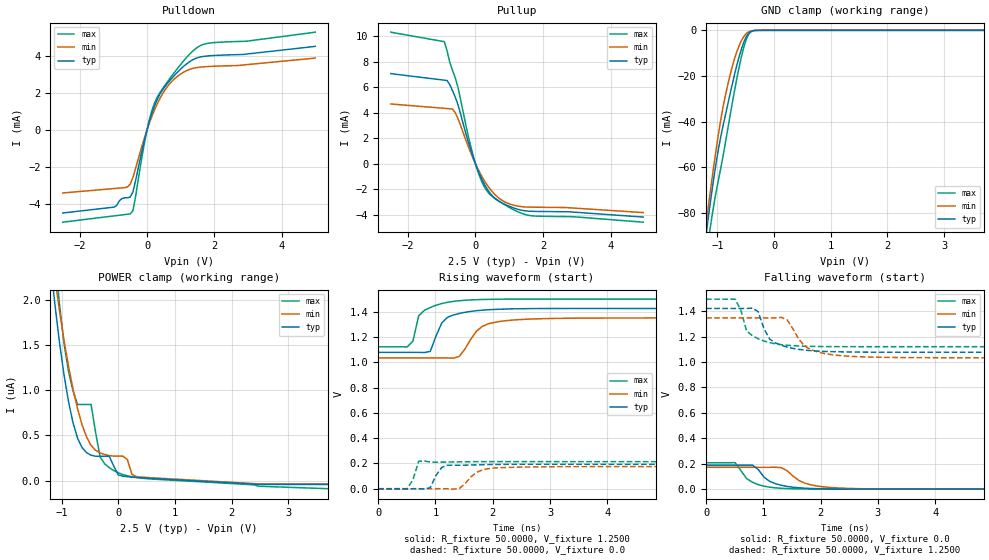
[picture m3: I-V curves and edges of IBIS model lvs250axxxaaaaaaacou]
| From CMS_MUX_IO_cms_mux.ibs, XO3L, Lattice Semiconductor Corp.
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[Model]   lvs250axxxaaaaaaacou
Model_type   Output
Polarity   Non-Inverting
Enable   Active-Low
Vmeas =   1.2500V
Cref =   3.0000pF
Rref =   50.0000
Vref =   1.2500V
C_comp   4.2000pF   3.8000pF   7.5000pF
[Temperature Range]   25.0000   0.1250k   -40.0000
[Voltage Range]   2.5000V   2.3800V   2.6300V
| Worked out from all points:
|   slope of the pulldown table from 0 to 0.375 V, typ, clamps not added: 196 ohm
|   slope of the pullup table from 0 to 0.375 V, typ, clamps not added: 178 ohm
|   GND clamp passes 1 mA (typ) near -0.43 V on its own axis
|   rising waveform, R_fixture 50.0000, V_fixture 1.2500: 20-80 % time 250ps typ, 331ps min, 240ps max; typ from 1.08 V to 1.42 V
|   rising waveform, R_fixture 50.0000, V_fixture 0.0: 20-80 % time 142ps typ, 257ps min, 107ps max; typ from 0 V to 0.189 V
|   falling waveform, R_fixture 50.0000, V_fixture 0.0: 20-80 % time 337ps typ, 394ps min, 304ps max; typ from 0.189 V to 0 V
|   falling waveform, R_fixture 50.0000, V_fixture 1.2500: 20-80 % time 293ps typ, 357ps min, 263ps max; typ from 1.42 V to 1.08 V
[Pulldown]
|Voltage   I(typ)   I(min)   I(max)
-2.5V     -4.512mA   -3.425mA   -5.012mA
-980mV    -4.194mA   -3.187mA   -4.669mA
-740mV    -3.725mA   -3.149mA   -4.615mA
-580mV    -3.684mA   -3.097mA   -4.579mA
-420mV    -3.371mA   -2.597mA   -4.4mA
-20mV     -141.1uA   -110.8uA   -176.9uA
220mV     1.286mA    1.074mA    1.445mA
460mV     2.167mA    1.953mA    2.23mA
780mV     2.888mA    2.708mA    3.037mA
1.5V      3.914mA    3.386mA    4.482mA
1.9V      4.025mA    3.445mA    4.718mA
5V        4.534mA    3.898mA    5.306mA
[Pullup]
|Voltage   I(typ)   I(min)   I(max)
-2.5V     7.076mA    4.69mA     10.34mA
-920mV    6.558mA    4.346mA    9.584mA
-760mV    6.227mA    4.311mA    7.991mA
-600mV    5.26mA     4.027mA    6.776mA
-520mV    4.668mA    3.581mA    6.055mA
-200mV    1.619mA    1.266mA    2.057mA
40mV      -284.3uA   -227.6uA   -345.1uA
280mV     -1.693mA   -1.407mA   -1.9mA
520mV     -2.586mA   -2.273mA   -2.629mA
1V        -3.353mA   -3.163mA   -3.442mA
1.64V     -3.746mA   -3.422mA   -4.094mA
4.96V     -4.201mA   -3.848mA   -4.604mA
[GND_clamp]
|Voltage   I(typ)   I(min)   I(max)
-2.5V     -566.3mA   -544.9mA   -586.5mA
-1.22V    -93.54mA   -88.99mA   -103.7mA
-1.18V    -85.75mA   -81.09mA   -96.02mA
-1.14V    -78.19mA   -73.36mA   -88.78mA
-1.1V     -70.93mA   -65.85mA   -82.04mA
-980mV    -51.7mA    -45.08mA   -65.26mA
-820mV    -32.67mA   -24.09mA   -43.56mA
-620mV    -11.8mA    -6.902mA   -16.44mA
-540mV    -5.525mA   -2.91mA    -7.855mA
-460mV    -1.591mA   -787.8uA   -2.175mA
-300mV    -20.61uA   -17.6uA    -17.71uA
5V        0A         0A         0A
[POWER_clamp]
|Voltage   I(typ)   I(min)   I(max)
-2.48V    16.67uA    13.46uA    27.27uA
-1.2V     2.435uA    2.651uA    3.191uA
-1.12V    1.959uA    2.254uA    2.522uA
-1.04V    1.541uA    1.891uA    1.967uA
-880mV    880.7nA    1.272uA    1.212uA
-720mV    472.2nA    798.5nA    842.6nA
-480mV    280.5nA    389.6nA    842.6nA
-320mV    269.7nA    306.1nA    260.6nA
-160mV    269.7nA    276.4nA    144nA
0V        63.22nA    270.6nA    86.34nA
400mV     31.61nA    39.07nA    27.38nA
5V        -44.09nA   -38.33nA   -118.7nA
[Ramp]
| variable   typ   min   max
dV/dt_r  0.1193/0.1485n   0.1077/0.2718n   0.1318/0.1078n
dV/dt_f  0.1239/0.3118n   0.1055/0.3867n   0.1459/0.2628n
R_load = 50.0000
[Rising Waveform]
R_fixture=   50.0000
V_fixture=   1.2500
V_fixture_min=   1.1880
V_fixture_max=   1.3130
|time   V(typ)   V(min)   V(max)
0s        1.078V     1.034V     1.122V
505.1ps   1.078V     1.034V     1.121V
606.1ps   1.079V     1.034V     1.167V
707.1ps   1.078V     1.034V     1.367V
909.1ps   1.086V     1.035V     1.433V
1.212ns   1.356V     1.034V     1.474V
1.414ns   1.386V     1.046V     1.486V
1.717ns   1.408V     1.246V     1.495V
3.333ns   1.425V     1.348V     1.5V
20ns      1.424V     1.35V      1.498V
[Rising Waveform]
R_fixture=   50.0000
V_fixture=   0.0
V_fixture_min=   0.0
V_fixture_max=   0.0
|time   V(typ)   V(min)   V(max)
0s        2.071uV    2.243uV    2.073uV
505.1ps   14.44uV    4.611uV    -481.2uV
707.1ps   -45.33uV   -4.092uV   217.3mV
808.1ps   -1.147mV   51.65uV    219.4mV
909.1ps   7.837mV    164.8uV    210.9mV
1.212ns   186.1mV    -124.4uV   211.2mV
1.414ns   185.6mV    1.15mV     212.8mV
1.818ns   190mV      148.7mV    214.2mV
2.424ns   193.1mV    170.2mV    214.5mV
20ns      188.9mV    172.1mV    208mV
[Falling Waveform]
R_fixture=   50.0000
V_fixture=   0.0
V_fixture_min=   0.0
V_fixture_max=   0.0
|time   V(typ)   V(min)   V(max)
0s        188.7mV    172mV      207.8mV
505.1ps   188.7mV    172mV      208.8mV
707.1ps   188.7mV    172mV      82.94mV
808.1ps   189.2mV    172mV      54.65mV
1.111ns   61.05mV    171.9mV    15.45mV
1.313ns   30.34mV    169mV      6.782mV
1.515ns   15.33mV    104.1mV    3.045mV
1.919ns   4.207mV    26.15mV    651.3uV
2.828ns   309.8uV    2.656mV    76.73uV
20ns      3.092uV    3.435uV    -1.99uV
[Falling Waveform]
R_fixture=   50.0000
V_fixture=   1.2500
V_fixture_min=   1.1880
V_fixture_max=   1.3130
|time   V(typ)   V(min)   V(max)
0s        1.422V     1.348V     1.495V
505.1ps   1.422V     1.348V     1.496V
707.1ps   1.422V     1.348V     1.244V
808.1ps   1.425V     1.348V     1.208V
1.111ns   1.18V      1.347V     1.153V
1.414ns   1.117V     1.332V     1.132V
1.616ns   1.1V       1.182V     1.126V
2.02ns    1.085V     1.071V     1.122V
3.03ns    1.078V     1.038V     1.121V
20ns      1.077V     1.034V     1.121V
